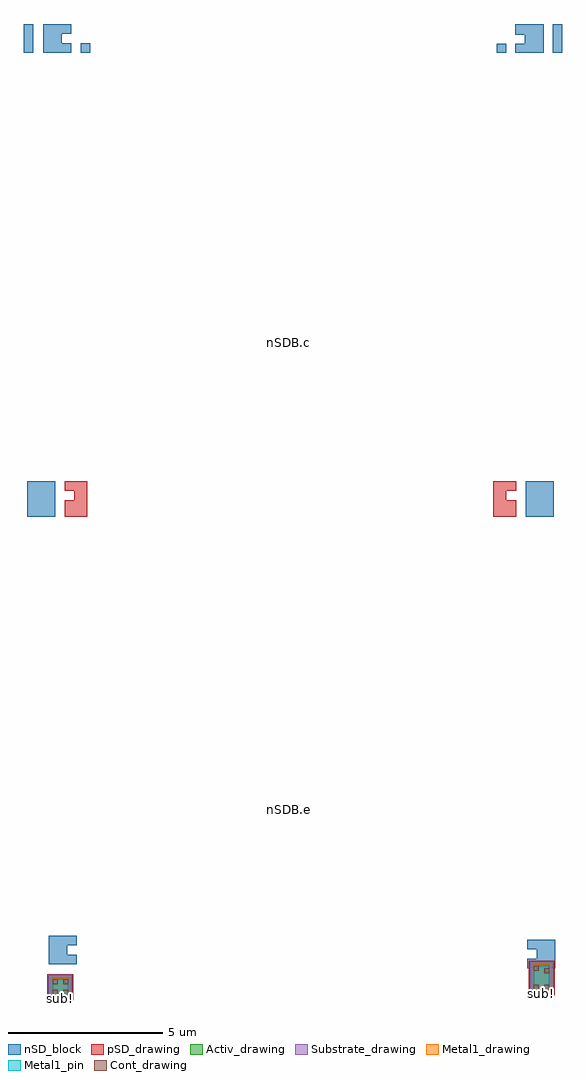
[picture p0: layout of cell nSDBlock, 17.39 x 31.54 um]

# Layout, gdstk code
import gdstk
lib = gdstk.Library(unit=1e-6, precision=1e-09)
def R(c, l, rs):  # rectangles x0, y0, x1, y1
    for r in rs: c.add(gdstk.rectangle(r[:2], r[2:], *l))
def P(c, l, *ps):  # polygons
    for p in ps: c.add(gdstk.Polygon(p, *l))
Activ_drawing = (1, 0)
Cont_drawing = (6, 0)
nSD_block = (7, 21)
Metal1_drawing = (8, 0)
Metal1_pin = (8, 2)
pSD_drawing = (14, 0)
Substrate_drawing = (40, 0)

nsdblock = lib.new_cell('nSDBlock')
R(nsdblock, Activ_drawing, [(-7.745,-43.58,-6.965,-42.8), (7.805,-43.42,8.585,-42.365)])
R(nsdblock, Cont_drawing, [(-7.605,-43.44,-7.445,-43.28), (-7.265,-43.44,-7.105,-43.28), (7.945,-43.28,8.105,-43.12), (8.285,-43.28,8.445,-43.12), (-7.605,-43.1,-7.445,-42.94), (-7.265,-43.1,-7.105,-42.94), (8.285,-42.75,8.445,-42.59), (7.945,-42.665,8.105,-42.505)])
R(nsdblock, nSD_block, [(-8.43,-27.995,-7.52,-26.845), (7.675,-27.995,8.585,-26.845), (-8.535,-13.005,-8.225,-12.075), (-6.695,-13.005,-6.385,-12.695), (6.75,-13.005,7.045,-12.72), (8.55,-13.005,8.855,-12.075)])
P(nsdblock, nSD_block, [(7.73,-42.59),(7.73,-42.28),(8.04,-42.28),(8.04,-41.97),(7.73,-41.97),(7.73,-41.66),(8.64,-41.66),(8.64,-42.59)],
  [(7.345,-13.005),(7.345,-12.72),(7.655,-12.72),(7.655,-12.43),(7.345,-12.43),(7.345,-12.075),(8.255,-12.075),(8.255,-13.005)],
  [(-7.73,-42.46),(-7.73,-41.53),(-6.82,-41.53),(-6.82,-41.84),(-7.13,-41.84),(-7.13,-42.15),(-6.82,-42.15),(-6.82,-42.46)],
  [(-7.915,-13.005),(-7.915,-12.075),(-7.005,-12.075),(-7.005,-12.385),(-7.315,-12.385),(-7.315,-12.695),(-7.005,-12.695),(-7.005,-13.005)])
R(nsdblock, Metal1_drawing, [(-7.605,-43.5,-7.105,-42.89), (-7.605,-43.49,-7.105,-42.89), (7.945,-43.35,8.445,-42.455)])
R(nsdblock, Metal1_pin, [(-7.605,-43.44,-7.105,-42.94), (7.945,-43.28,8.445,-42.505)])
R(nsdblock, pSD_drawing, [(-7.775,-43.61,-6.935,-42.77), (7.775,-43.45,8.615,-42.335)])
P(nsdblock, pSD_drawing, [(-7.21,-27.995),(-7.21,-27.465),(-6.9,-27.465),(-6.9,-27.155),(-7.21,-27.155),(-7.21,-26.845),(-6.48,-26.845),(-6.48,-27.995)],
  [(6.635,-27.995),(6.635,-26.845),(7.37,-26.845),(7.37,-27.155),(7.055,-27.155),(7.055,-27.465),(7.37,-27.465),(7.37,-27.995)])
R(nsdblock, Substrate_drawing, [(-7.745,-43.58,-6.965,-42.8), (7.805,-43.42,8.585,-42.365)])
nsdblock.add(gdstk.Label('sub!', (8.195,-43.41), layer=40, texttype=0))
nsdblock.add(gdstk.Label('5.11 nSD:block', (0,21), layer=63, texttype=0))
nsdblock.add(gdstk.Label('nSDB.c', (0,-22.38), layer=63, texttype=0))
nsdblock.add(gdstk.Label('sub!', (8.195,-43.41), layer=63, texttype=0))
nsdblock.add(gdstk.Label('nSDB.e', (0,-37.455), layer=63, texttype=0))
nsdblock.add(gdstk.Label('nSDB.a/b', (0,-7.255), layer=63, texttype=0))
nsdblock.add(gdstk.Label('FAIL', (12,5), layer=63, texttype=0))
nsdblock.add(gdstk.Label('PASS', (-12,5), layer=63, texttype=0))
nsdblock.add(gdstk.Label('sub!', (-7.355,-43.57), layer=63, texttype=0))

lib.write_gds('nSDBlock.gds')
